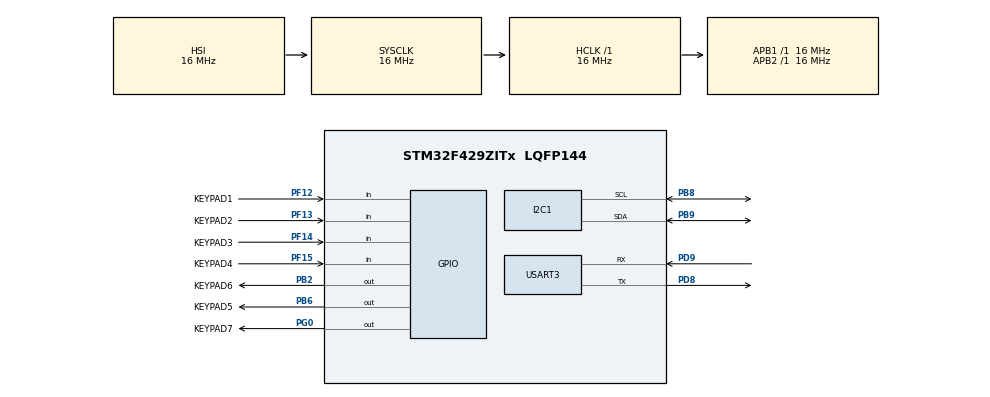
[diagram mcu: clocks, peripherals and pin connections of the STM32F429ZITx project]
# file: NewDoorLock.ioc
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I2C1.I2C_Mode=I2C_Standard
Mcu.Family=STM32F4
Mcu.Name=STM32F429ZITx
Mcu.Package=LQFP144
NVIC.PriorityGroup=NVIC_PRIORITYGROUP_4
PB2/BOOT1.GPIO_Label=KEYPAD6
PB2/BOOT1.PinState=GPIO_PIN_SET
PB2/BOOT1.Signal=GPIO_Output
PB6.GPIO_Label=KEYPAD5
PB6.PinState=GPIO_PIN_SET
PB6.Signal=GPIO_Output
PB8.GPIO_Pu=GPIO_PULLUP
PB8.Mode=I2C
PB8.Signal=I2C1_SCL
PB9.GPIO_Pu=GPIO_PULLUP
PB9.Mode=I2C
PB9.Signal=I2C1_SDA
PD8.Mode=Asynchronous
PD8.Signal=USART3_TX
PD9.Mode=Asynchronous
PD9.Signal=USART3_RX
PF12.GPIO_Label=KEYPAD1
PF12.GPIO_PuPd=GPIO_PULLUP
PF12.Signal=GPIO_Input
PF13.GPIO_Label=KEYPAD2
PF13.GPIO_PuPd=GPIO_PULLUP
PF13.Signal=GPIO_Input
PF14.GPIO_Label=KEYPAD3
PF14.GPIO_PuPd=GPIO_PULLUP
PF14.Signal=GPIO_Input
PF15.GPIO_Label=KEYPAD4
PF15.GPIO_PuPd=GPIO_PULLUP
PF15.Signal=GPIO_Input
PG0.GPIO_Label=KEYPAD7
PG0.PinState=GPIO_PIN_SET
PG0.Signal=GPIO_Output
ProjectManager.HeapSize=0x200
ProjectManager.StackSize=0x400
ProjectManager.TargetToolchain=STM32CubeIDE
RCC.AHBFreq_Value=16000000
RCC.APB1Freq_Value=16000000
RCC.APB2Freq_Value=16000000
RCC.CortexFreq_Value=16000000
RCC.HSE_VALUE=25000000
RCC.HSI_VALUE=16000000
RCC.LSE_VALUE=32768
RCC.SYSCLKFreq_VALUE=16000000
RCC.VCOOutputFreq_Value=192000000
USART3.VirtualMode=VM_ASYNC
board=custom

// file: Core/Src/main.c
/* USER CODE BEGIN Header */
/**
  ******************************************************************************
  * @file           : main.c
  * @brief          : Main program body
  ******************************************************************************
  * @attention
  *
  * Copyright (c) 2024 STMicroelectronics.
  * All rights reserved.
  *
  * This software is licensed under terms that can be found in the LICENSE file
  * in the root directory of this software component.
  * If no LICENSE file comes with this software, it is provided AS-IS.
  *
  ******************************************************************************
  */
/* USER CODE END Header */
#include "main.h"

/* USER CODE BEGIN Includes */
#include <stdio.h>
#include <string.h>
/* USER CODE END Includes */

/* USER CODE BEGIN PD */
#define STATE1 2
#define STATE2 0
#define STATE3 1

#define EEPROM_ADDR 0xA0
/* USER CODE END PD */

I2C_HandleTypeDef hi2c1;

UART_HandleTypeDef huart3;

/* USER CODE BEGIN PV */
uint8_t state = STATE1;
GPIO_PinState KEYPAD1, KEYPAD2, KEYPAD3, KEYPAD4, KEYPAD5, KEYPAD6, KEYPAD7;
uint8_t data = 0;
uint8_t table[] = {'1', '4', '7', '*', '2', '5', '8', '0', '3', '6', '9', '#'};
char tx_buf[30];
uint32_t last_key_time = 0;
uint8_t chk = 0;

uint8_t initial_password[] = {'1', '2', '3', '4', '5', '6', '7', '8'};
uint8_t read_password[8] = {0};
/* USER CODE END PV */

void SystemClock_Config(void);
static void MX_GPIO_Init(void);
static void MX_USART3_UART_Init(void);
static void MX_I2C1_Init(void);

int main(void)
{

  /* USER CODE BEGIN 1 */
	uint32_t current_time = HAL_GetTick();
  /* USER CODE END 1 */

  /* MCU Configuration--------------------------------------------------------*/

  /* Reset of all peripherals, Initializes the Flash interface and the Systick. */
  HAL_Init();

  /* Configure the system clock */
  SystemClock_Config();

  /* Initialize all configured peripherals */
  MX_GPIO_Init();
  MX_USART3_UART_Init();
  MX_I2C1_Init();
  /* USER CODE BEGIN 2 */
  if(HAL_I2C_Mem_Read(&hi2c1, EEPROM_ADDR, 0, 2, (uint8_t*)read_password, sizeof(read_password), 1000) != HAL_OK) {
	  sprintf(tx_buf, "Error reading password from EEPROM.\n\r");
  }

  uint8_t needs_initialization = 1;
  for(int i = 0; i < 8; i++) {
	  if(read_password[i] != 0xFF) {
		  needs_initialization = 0;
		  break;
	  }
  }

  if(needs_initialization) {
	  if(HAL_I2C_Mem_Write(&hi2c1, EEPROM_ADDR, 0, 2, initial_password, sizeof(initial_password), 1000) == HAL_OK) {
		  sprintf(tx_buf, "Initial password '12345678' written to EEPROM\n\r");
	  }
	  HAL_Delay(10);
  }
  /* USER CODE END 2 */

  /* Infinite loop */
  /* USER CODE BEGIN WHILE */
  while (1)
  {
	  if(HAL_GetTick() - current_time >= 10) {		// 10ms마다 state 변경
		  current_time = HAL_GetTick();

		  if(chk == 0) {
			  if(state == STATE1) {
				  KEYPAD5 = 0; KEYPAD6 = 1; KEYPAD7 = 1;
				  state = STATE2;
			  }
			  else if(state == STATE2) {
				  KEYPAD5 = 1; KEYPAD6 = 0; KEYPAD7 = 1;
				  state = STATE3;
			  }
			  else if(state == STATE3) {
				  KEYPAD5 = 1; KEYPAD6 = 1; KEYPAD7 = 0;
				  state = STATE1;
			  }
			  HAL_GPIO_WritePin(KEYPAD5_GPIO_Port, KEYPAD5_Pin, KEYPAD5);
			  HAL_GPIO_WritePin(KEYPAD6_GPIO_Port, KEYPAD6_Pin, KEYPAD6);
			  HAL_GPIO_WritePin(KEYPAD7_GPIO_Port, KEYPAD7_Pin, KEYPAD7);
		  }

		  KEYPAD1 = HAL_GPIO_ReadPin(KEYPAD1_GPIO_Port, KEYPAD1_Pin);
		  KEYPAD2 = HAL_GPIO_ReadPin(KEYPAD2_GPIO_Port, KEYPAD2_Pin);
		  KEYPAD3 = HAL_GPIO_ReadPin(KEYPAD3_GPIO_Port, KEYPAD3_Pin);
		  KEYPAD4 = HAL_GPIO_ReadPin(KEYPAD4_GPIO_Port, KEYPAD4_Pin);

		  data = 0;
		  data |= (KEYPAD1 << 0) | (KEYPAD2 << 1) | (KEYPAD3 << 2) | (KEYPAD4 << 3);

		  if(data != 0x0F && chk == 0) {
			  if((HAL_GetTick() - last_key_time) > 50) {
				  last_key_time = HAL_GetTick();

				  uint8_t index = -1;
				  uint8_t exponent = 0;

				  data = (~data & 0x0F);		// 반전한 값을 0x0F와 &연산해서 1, 2, 4, 8 뽑아냄

				  while(data > 1) {				// 지수 0, 1, 2, 3 뽑아냄
					  data >>= 1;
					  exponent++;
				  }

				  index = state * 4 + exponent;

				  sprintf(tx_buf, "%c\n\r", table[index]);
				  HAL_UART_Transmit(&huart3, (uint8_t*)tx_buf, strlen(tx_buf), 100);
			  }
			  chk = 1;
		  }
		  else if(data == 0x0F && chk == 1) {
			  chk = 0;
		  }
	  }

    /* USER CODE END WHILE */

  }
}

void SystemClock_Config(void)
{
  RCC_OscInitTypeDef RCC_OscInitStruct = {0};
  RCC_ClkInitTypeDef RCC_ClkInitStruct = {0};

  /** Configure the main internal regulator output voltage
  */
  __HAL_RCC_PWR_CLK_ENABLE();
  __HAL_PWR_VOLTAGESCALING_CONFIG(PWR_REGULATOR_VOLTAGE_SCALE3);

  /** Initializes the RCC Oscillators according to the specified parameters
  * in the RCC_OscInitTypeDef structure.
  */
  RCC_OscInitStruct.OscillatorType = RCC_OSCILLATORTYPE_HSI;
  RCC_OscInitStruct.HSIState = RCC_HSI_ON;
  RCC_OscInitStruct.HSICalibrationValue = RCC_HSICALIBRATION_DEFAULT;
  RCC_OscInitStruct.PLL.PLLState = RCC_PLL_NONE;
  if (HAL_RCC_OscConfig(&RCC_OscInitStruct) != HAL_OK)
  {
    Error_Handler();
  }

  /** Initializes the CPU, AHB and APB buses clocks
  */
  RCC_ClkInitStruct.ClockType = RCC_CLOCKTYPE_HCLK|RCC_CLOCKTYPE_SYSCLK
                              |RCC_CLOCKTYPE_PCLK1|RCC_CLOCKTYPE_PCLK2;
  RCC_ClkInitStruct.SYSCLKSource = RCC_SYSCLKSOURCE_HSI;
  RCC_ClkInitStruct.AHBCLKDivider = RCC_SYSCLK_DIV1;
  RCC_ClkInitStruct.APB1CLKDivider = RCC_HCLK_DIV1;
  RCC_ClkInitStruct.APB2CLKDivider = RCC_HCLK_DIV1;

  if (HAL_RCC_ClockConfig(&RCC_ClkInitStruct, FLASH_LATENCY_0) != HAL_OK)
  {
    Error_Handler();
  }
}

static void MX_I2C1_Init(void)
{

  hi2c1.Instance = I2C1;
  hi2c1.Init.ClockSpeed = 100000;
  hi2c1.Init.DutyCycle = I2C_DUTYCYCLE_2;
  hi2c1.Init.OwnAddress1 = 0;
  hi2c1.Init.AddressingMode = I2C_ADDRESSINGMODE_7BIT;
  hi2c1.Init.DualAddressMode = I2C_DUALADDRESS_DISABLE;
  hi2c1.Init.OwnAddress2 = 0;
  hi2c1.Init.GeneralCallMode = I2C_GENERALCALL_DISABLE;
  hi2c1.Init.NoStretchMode = I2C_NOSTRETCH_DISABLE;
  if (HAL_I2C_Init(&hi2c1) != HAL_OK)
  {
    Error_Handler();
  }

  /** Configure Analogue filter
  */
  if (HAL_I2CEx_ConfigAnalogFilter(&hi2c1, I2C_ANALOGFILTER_ENABLE) != HAL_OK)
  {
    Error_Handler();
  }

  /** Configure Digital filter
  */
  if (HAL_I2CEx_ConfigDigitalFilter(&hi2c1, 0) != HAL_OK)
  {
    Error_Handler();
  }

}

static void MX_USART3_UART_Init(void)
{

  huart3.Instance = USART3;
  huart3.Init.BaudRate = 115200;
  huart3.Init.WordLength = UART_WORDLENGTH_8B;
  huart3.Init.StopBits = UART_STOPBITS_1;
  huart3.Init.Parity = UART_PARITY_NONE;
  huart3.Init.Mode = UART_MODE_TX_RX;
  huart3.Init.HwFlowCtl = UART_HWCONTROL_NONE;
  huart3.Init.OverSampling = UART_OVERSAMPLING_16;
  if (HAL_UART_Init(&huart3) != HAL_OK)
  {
    Error_Handler();
  }

}

static void MX_GPIO_Init(void)
{
  GPIO_InitTypeDef GPIO_InitStruct = {0};

  /* GPIO Ports Clock Enable */
  __HAL_RCC_GPIOB_CLK_ENABLE();
  __HAL_RCC_GPIOF_CLK_ENABLE();
  __HAL_RCC_GPIOG_CLK_ENABLE();
  __HAL_RCC_GPIOD_CLK_ENABLE();

  /*Configure GPIO pin Output Level */
  HAL_GPIO_WritePin(GPIOB, KEYPAD6_Pin|KEYPAD5_Pin, GPIO_PIN_SET);

  /*Configure GPIO pin Output Level */
  HAL_GPIO_WritePin(KEYPAD7_GPIO_Port, KEYPAD7_Pin, GPIO_PIN_SET);

  /*Configure GPIO pins : KEYPAD6_Pin KEYPAD5_Pin */
  GPIO_InitStruct.Pin = KEYPAD6_Pin|KEYPAD5_Pin;
  GPIO_InitStruct.Mode = GPIO_MODE_OUTPUT_PP;
  GPIO_InitStruct.Pull = GPIO_NOPULL;
  GPIO_InitStruct.Speed = GPIO_SPEED_FREQ_LOW;
  HAL_GPIO_Init(GPIOB, &GPIO_InitStruct);

  /*Configure GPIO pins : KEYPAD1_Pin KEYPAD2_Pin KEYPAD3_Pin KEYPAD4_Pin */
  GPIO_InitStruct.Pin = KEYPAD1_Pin|KEYPAD2_Pin|KEYPAD3_Pin|KEYPAD4_Pin;
  GPIO_InitStruct.Mode = GPIO_MODE_INPUT;
  GPIO_InitStruct.Pull = GPIO_PULLUP;
  HAL_GPIO_Init(GPIOF, &GPIO_InitStruct);

  /*Configure GPIO pin : KEYPAD7_Pin */
  GPIO_InitStruct.Pin = KEYPAD7_Pin;
  GPIO_InitStruct.Mode = GPIO_MODE_OUTPUT_PP;
  GPIO_InitStruct.Pull = GPIO_NOPULL;
  GPIO_InitStruct.Speed = GPIO_SPEED_FREQ_LOW;
  HAL_GPIO_Init(KEYPAD7_GPIO_Port, &GPIO_InitStruct);

}

void Error_Handler(void)
{
  __disable_irq();
  while (1)
  {
  }
}
